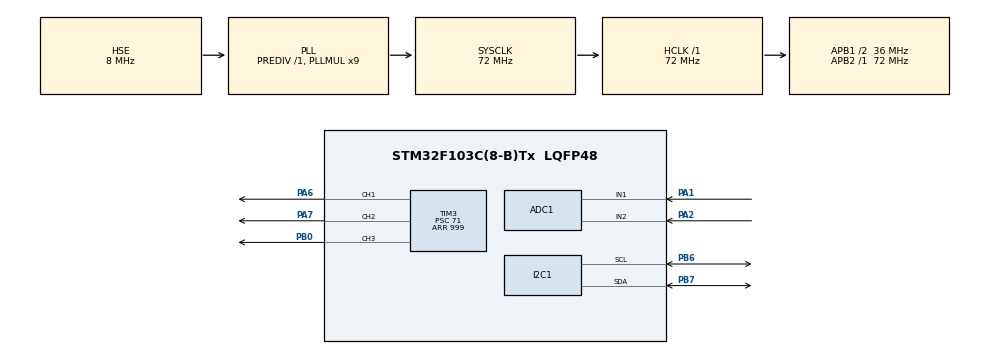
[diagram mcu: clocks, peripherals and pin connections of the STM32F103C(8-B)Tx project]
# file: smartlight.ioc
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ADC1.Channel-0\#ChannelRegularConversion=ADC_CHANNEL_1
ADC1.Channel-1\#ChannelRegularConversion=ADC_CHANNEL_2
ADC1.ContinuousConvMode=ENABLE
ADC1.NbrOfConversion=2
ADC1.NbrOfConversionFlag=1
ADC1.Rank-0\#ChannelRegularConversion=1
ADC1.Rank-1\#ChannelRegularConversion=2
ADC1.SamplingTime-0\#ChannelRegularConversion=ADC_SAMPLETIME_28CYCLES_5
ADC1.SamplingTime-1\#ChannelRegularConversion=ADC_SAMPLETIME_28CYCLES_5
ADC1.master=1
Dma.ADC1.0.Direction=DMA_PERIPH_TO_MEMORY
Dma.ADC1.0.Instance=DMA1_Channel1
Dma.ADC1.0.MemDataAlignment=DMA_MDATAALIGN_HALFWORD
Dma.ADC1.0.MemInc=DMA_MINC_ENABLE
Dma.ADC1.0.Mode=DMA_CIRCULAR
Dma.ADC1.0.PeriphDataAlignment=DMA_PDATAALIGN_HALFWORD
Dma.ADC1.0.PeriphInc=DMA_PINC_DISABLE
Dma.ADC1.0.Priority=DMA_PRIORITY_LOW
Dma.Request0=ADC1
I2C1.I2C_Mode=I2C_Fast
Mcu.Family=STM32F1
Mcu.Name=STM32F103C(8-B)Tx
Mcu.Package=LQFP48
NVIC.DMA1_Channel1_IRQn=true\:0\:0\:false\:false\:true\:false\:true\:true
NVIC.PriorityGroup=NVIC_PRIORITYGROUP_4
PA1.Signal=ADCx_IN1
PA13.Mode=Serial_Wire
PA13.Signal=SYS_JTMS-SWDIO
PA14.Mode=Serial_Wire
PA14.Signal=SYS_JTCK-SWCLK
PA2.Signal=ADCx_IN2
PA6.Signal=S_TIM3_CH1
PA7.Signal=S_TIM3_CH2
PB0.Signal=S_TIM3_CH3
PB6.Mode=I2C
PB6.Signal=I2C1_SCL
PB7.Mode=I2C
PB7.Signal=I2C1_SDA
PD0-OSC_IN.Mode=HSE-External-Oscillator
PD0-OSC_IN.Signal=RCC_OSC_IN
PD1-OSC_OUT.Mode=HSE-External-Oscillator
PD1-OSC_OUT.Signal=RCC_OSC_OUT
ProjectManager.HeapSize=0x200
ProjectManager.StackSize=0x400
ProjectManager.TargetToolchain=STM32CubeIDE
RCC.ADCPresc=RCC_ADCPCLK2_DIV6
RCC.AHBFreq_Value=72000000
RCC.APB1CLKDivider=RCC_HCLK_DIV2
RCC.APB1Freq_Value=36000000
RCC.APB1TimFreq_Value=72000000
RCC.APB2Freq_Value=72000000
RCC.APB2TimFreq_Value=72000000
RCC.HCLKFreq_Value=72000000
RCC.PLLMUL=RCC_PLL_MUL9
RCC.PLLSourceVirtual=RCC_PLLSOURCE_HSE
RCC.SYSCLKFreq_VALUE=72000000
RCC.SYSCLKSource=RCC_SYSCLKSOURCE_PLLCLK
RCC.USBFreq_Value=72000000
SH.ADCx_IN1.0=ADC1_IN1,IN1
SH.ADCx_IN2.0=ADC1_IN2,IN2
SH.S_TIM3_CH1.0=TIM3_CH1,PWM Generation1 CH1
SH.S_TIM3_CH2.0=TIM3_CH2,PWM Generation2 CH2
SH.S_TIM3_CH3.0=TIM3_CH3,PWM Generation3 CH3
TIM3.Channel-PWM\ Generation1\ CH1=TIM_CHANNEL_1
TIM3.Channel-PWM\ Generation2\ CH2=TIM_CHANNEL_2
TIM3.Channel-PWM\ Generation3\ CH3=TIM_CHANNEL_3
TIM3.Period=999
TIM3.Prescaler=71
VP_TIM3_VS_ClockSourceINT.Mode=Internal
board=custom

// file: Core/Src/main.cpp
/* USER CODE BEGIN Header */
/**
 ******************************************************************************
 * @file           : main.c
 * @brief          : Main program body
 ******************************************************************************
 * @attention
 *
 * Copyright (c) 2025 STMicroelectronics.
 * All rights reserved.
 *
 * This software is licensed under terms that can be found in the LICENSE file
 * in the root directory of this software component.
 * If no LICENSE file comes with this software, it is provided AS-IS.
 *
 ******************************************************************************
 */
/* USER CODE END Header */
#include "main.h"

/* USER CODE BEGIN Includes */
#include <stdio.h>
#include <string.h>
#include "Fuzzy.h"
#include "fonts.h"
#include "ssd1306.h"
/* USER CODE END Includes */

ADC_HandleTypeDef hadc1;
DMA_HandleTypeDef hdma_adc1;

I2C_HandleTypeDef hi2c1;

TIM_HandleTypeDef htim3;

/* USER CODE BEGIN PV */
uint16_t light[2];
char tx_buffer[20];

Fuzzy *fuzzy = new Fuzzy();

// define membership
// inside room
FuzzySet *in_veryDark = new FuzzySet(0, 0, 10, 20);
FuzzySet *in_dark     = new FuzzySet(10, 20, 30, 40);
FuzzySet *in_moderate = new FuzzySet(30, 40, 50, 60);
FuzzySet *in_bright   = new FuzzySet(50, 60, 70, 80);
FuzzySet *in_veryBright = new FuzzySet(70, 80, 90, 100);

// outside
FuzzySet *out_veryDark = new FuzzySet(0, 0, 10, 20);
FuzzySet *out_dark     = new FuzzySet(10, 20, 30, 40);
FuzzySet *out_moderate = new FuzzySet(30, 40, 50, 60);
FuzzySet *out_bright   = new FuzzySet(50, 60, 70, 80);
FuzzySet *out_veryBright = new FuzzySet(70, 80, 90, 100);

// brightness
FuzzySet *veryLow	= new FuzzySet(0, 0, 10, 20);
FuzzySet *low		= new FuzzySet(10, 20, 30, 40);
FuzzySet *medium	= new FuzzySet(30, 40, 50, 60);
FuzzySet *high		= new FuzzySet(50, 60, 70, 80);
FuzzySet *veryHigh	= new FuzzySet(70, 80, 100, 100);

/* USER CODE END PV */

void SystemClock_Config(void);
static void MX_GPIO_Init(void);
static void MX_DMA_Init(void);
static void MX_ADC1_Init(void);
static void MX_TIM3_Init(void);
static void MX_I2C1_Init(void);

/* USER CODE BEGIN 0 */
void setupFuzzy();
void configureFuzzyRule();
void addRule(int ruleNumber, FuzzySet *fuzzySet1, FuzzySet *fuzzySet2,
		FuzzyRuleConsequent *Consequent);
float scaleLightValue(uint16_t light, uint16_t fromLow, uint16_t fromHigh,
		uint16_t toLow, uint16_t toHigh);
/* USER CODE END 0 */

int main(void) {

	/* MCU Configuration--------------------------------------------------------*/

	/* Reset of all peripherals, Initializes the Flash interface and the Systick. */
	HAL_Init();

	/* Configure the system clock */
	SystemClock_Config();

	/* Initialize all configured peripherals */
	MX_GPIO_Init();
	MX_DMA_Init();
	MX_ADC1_Init();
	MX_TIM3_Init();
	MX_I2C1_Init();
	/* USER CODE BEGIN 2 */
	HAL_TIM_PWM_Start(&htim3, TIM_CHANNEL_1);
	HAL_TIM_PWM_Start(&htim3, TIM_CHANNEL_2);
	HAL_TIM_PWM_Start(&htim3, TIM_CHANNEL_3);

	SSD1306_Init(); // initialise the display

	if (HAL_ADC_Start_DMA(&hadc1, (uint32_t*) light, 2) != HAL_OK) {
		strcpy(tx_buffer, "ADC failed!\n\r");
		SSD1306_GotoXY(10, 10); // goto 10, 10
		SSD1306_Puts(tx_buffer, &Font_7x10, SSD1306_COLOR_WHITE); // print Hello
		SSD1306_UpdateScreen(); // update screen
	}

	setupFuzzy();
	configureFuzzyRule();
	/* USER CODE END 2 */

	/* Infinite loop */
	while (1) {

		/* USER CODE BEGIN 3 */
		float scaledP1 = scaleLightValue(light[0], 0, 4095, 0, 100);
		float scaledP2 = scaleLightValue(light[1], 0, 4095, 0, 100);

		float illuminationP1 = 100 - scaledP1;
		float illuminationP2 = 100 - scaledP2;

		fuzzy->setInput(1, illuminationP1);
		fuzzy->setInput(2, illuminationP2);

		// mờ hóa
		fuzzy->fuzzify();

		// giải mờ
		float brightnessLED = fuzzy->defuzzify(1);

		if (brightnessLED < 33.33) {
			__HAL_TIM_SET_COMPARE(&htim3, TIM_CHANNEL_1, brightnessLED);
			__HAL_TIM_SET_COMPARE(&htim3, TIM_CHANNEL_2, 0);
			__HAL_TIM_SET_COMPARE(&htim3, TIM_CHANNEL_3, 0);
		} else if (brightnessLED < 66.67) {
			__HAL_TIM_SET_COMPARE(&htim3, TIM_CHANNEL_1, brightnessLED);
			__HAL_TIM_SET_COMPARE(&htim3, TIM_CHANNEL_2, brightnessLED);
			__HAL_TIM_SET_COMPARE(&htim3, TIM_CHANNEL_3, 0);
		} else {
			__HAL_TIM_SET_COMPARE(&htim3, TIM_CHANNEL_1, brightnessLED);
			__HAL_TIM_SET_COMPARE(&htim3, TIM_CHANNEL_2, brightnessLED);
			__HAL_TIM_SET_COMPARE(&htim3, TIM_CHANNEL_3, brightnessLED);
		}

		SSD1306_Clear();
		SSD1306_GotoXY(1, 0);
		sprintf(tx_buffer, "light 1: %.2f", illuminationP1);
		SSD1306_Puts(tx_buffer, &Font_7x10, SSD1306_COLOR_WHITE);

		SSD1306_GotoXY(1, 12);
		sprintf(tx_buffer, "light 2: %.2f", illuminationP2);
		SSD1306_Puts(tx_buffer, &Font_7x10, SSD1306_COLOR_WHITE);

		SSD1306_GotoXY(1, 22);
		sprintf(tx_buffer, "bright: %.2f%%", brightnessLED);
		SSD1306_Puts(tx_buffer, &Font_7x10, SSD1306_COLOR_WHITE);

		SSD1306_UpdateScreen();

		HAL_Delay(500);
	}
	/* USER CODE END 3 */
}

void SystemClock_Config(void) {
	RCC_OscInitTypeDef RCC_OscInitStruct = { 0 };
	RCC_ClkInitTypeDef RCC_ClkInitStruct = { 0 };
	RCC_PeriphCLKInitTypeDef PeriphClkInit = { 0 };

	/** Initializes the RCC Oscillators according to the specified parameters
	 * in the RCC_OscInitTypeDef structure.
	 */
	RCC_OscInitStruct.OscillatorType = RCC_OSCILLATORTYPE_HSE;
	RCC_OscInitStruct.HSEState = RCC_HSE_ON;
	RCC_OscInitStruct.HSEPredivValue = RCC_HSE_PREDIV_DIV1;
	RCC_OscInitStruct.HSIState = RCC_HSI_ON;
	RCC_OscInitStruct.PLL.PLLState = RCC_PLL_ON;
	RCC_OscInitStruct.PLL.PLLSource = RCC_PLLSOURCE_HSE;
	RCC_OscInitStruct.PLL.PLLMUL = RCC_PLL_MUL9;
	if (HAL_RCC_OscConfig(&RCC_OscInitStruct) != HAL_OK) {
		Error_Handler();
	}

	/** Initializes the CPU, AHB and APB buses clocks
	 */
	RCC_ClkInitStruct.ClockType = RCC_CLOCKTYPE_HCLK | RCC_CLOCKTYPE_SYSCLK
			| RCC_CLOCKTYPE_PCLK1 | RCC_CLOCKTYPE_PCLK2;
	RCC_ClkInitStruct.SYSCLKSource = RCC_SYSCLKSOURCE_PLLCLK;
	RCC_ClkInitStruct.AHBCLKDivider = RCC_SYSCLK_DIV1;
	RCC_ClkInitStruct.APB1CLKDivider = RCC_HCLK_DIV2;
	RCC_ClkInitStruct.APB2CLKDivider = RCC_HCLK_DIV1;

	if (HAL_RCC_ClockConfig(&RCC_ClkInitStruct, FLASH_LATENCY_2) != HAL_OK) {
		Error_Handler();
	}
	PeriphClkInit.PeriphClockSelection = RCC_PERIPHCLK_ADC;
	PeriphClkInit.AdcClockSelection = RCC_ADCPCLK2_DIV6;
	if (HAL_RCCEx_PeriphCLKConfig(&PeriphClkInit) != HAL_OK) {
		Error_Handler();
	}
}

static void MX_ADC1_Init(void) {

	ADC_ChannelConfTypeDef sConfig = { 0 };

	/** Common config
	 */
	hadc1.Instance = ADC1;
	hadc1.Init.ScanConvMode = ADC_SCAN_ENABLE;
	hadc1.Init.ContinuousConvMode = ENABLE;
	hadc1.Init.DiscontinuousConvMode = DISABLE;
	hadc1.Init.ExternalTrigConv = ADC_SOFTWARE_START;
	hadc1.Init.DataAlign = ADC_DATAALIGN_RIGHT;
	hadc1.Init.NbrOfConversion = 2;
	if (HAL_ADC_Init(&hadc1) != HAL_OK) {
		Error_Handler();
	}

	/** Configure Regular Channel
	 */
	sConfig.Channel = ADC_CHANNEL_1;
	sConfig.Rank = ADC_REGULAR_RANK_1;
	sConfig.SamplingTime = ADC_SAMPLETIME_28CYCLES_5;
	if (HAL_ADC_ConfigChannel(&hadc1, &sConfig) != HAL_OK) {
		Error_Handler();
	}

	/** Configure Regular Channel
	 */
	sConfig.Channel = ADC_CHANNEL_2;
	sConfig.Rank = ADC_REGULAR_RANK_2;
	if (HAL_ADC_ConfigChannel(&hadc1, &sConfig) != HAL_OK) {
		Error_Handler();
	}

}

static void MX_I2C1_Init(void) {

	hi2c1.Instance = I2C1;
	hi2c1.Init.ClockSpeed = 400000;
	hi2c1.Init.DutyCycle = I2C_DUTYCYCLE_2;
	hi2c1.Init.OwnAddress1 = 0;
	hi2c1.Init.AddressingMode = I2C_ADDRESSINGMODE_7BIT;
	hi2c1.Init.DualAddressMode = I2C_DUALADDRESS_DISABLE;
	hi2c1.Init.OwnAddress2 = 0;
	hi2c1.Init.GeneralCallMode = I2C_GENERALCALL_DISABLE;
	hi2c1.Init.NoStretchMode = I2C_NOSTRETCH_DISABLE;
	if (HAL_I2C_Init(&hi2c1) != HAL_OK) {
		Error_Handler();
	}

}

static void MX_TIM3_Init(void) {

	TIM_ClockConfigTypeDef sClockSourceConfig = { 0 };
	TIM_MasterConfigTypeDef sMasterConfig = { 0 };
	TIM_OC_InitTypeDef sConfigOC = { 0 };

	htim3.Instance = TIM3;
	htim3.Init.Prescaler = 71;
	htim3.Init.CounterMode = TIM_COUNTERMODE_UP;
	htim3.Init.Period = 999;
	htim3.Init.ClockDivision = TIM_CLOCKDIVISION_DIV1;
	htim3.Init.AutoReloadPreload = TIM_AUTORELOAD_PRELOAD_DISABLE;
	if (HAL_TIM_Base_Init(&htim3) != HAL_OK) {
		Error_Handler();
	}
	sClockSourceConfig.ClockSource = TIM_CLOCKSOURCE_INTERNAL;
	if (HAL_TIM_ConfigClockSource(&htim3, &sClockSourceConfig) != HAL_OK) {
		Error_Handler();
	}
	if (HAL_TIM_PWM_Init(&htim3) != HAL_OK) {
		Error_Handler();
	}
	sMasterConfig.MasterOutputTrigger = TIM_TRGO_RESET;
	sMasterConfig.MasterSlaveMode = TIM_MASTERSLAVEMODE_DISABLE;
	if (HAL_TIMEx_MasterConfigSynchronization(&htim3, &sMasterConfig)
			!= HAL_OK) {
		Error_Handler();
	}
	sConfigOC.OCMode = TIM_OCMODE_PWM1;
	sConfigOC.Pulse = 0;
	sConfigOC.OCPolarity = TIM_OCPOLARITY_HIGH;
	sConfigOC.OCFastMode = TIM_OCFAST_DISABLE;
	if (HAL_TIM_PWM_ConfigChannel(&htim3, &sConfigOC, TIM_CHANNEL_1)
			!= HAL_OK) {
		Error_Handler();
	}
	if (HAL_TIM_PWM_ConfigChannel(&htim3, &sConfigOC, TIM_CHANNEL_2)
			!= HAL_OK) {
		Error_Handler();
	}
	if (HAL_TIM_PWM_ConfigChannel(&htim3, &sConfigOC, TIM_CHANNEL_3)
			!= HAL_OK) {
		Error_Handler();
	}
	HAL_TIM_MspPostInit(&htim3);

}

static void MX_DMA_Init(void) {

	/* DMA controller clock enable */
	__HAL_RCC_DMA1_CLK_ENABLE();

	/* DMA interrupt init */
	/* DMA1_Channel1_IRQn interrupt configuration */
	HAL_NVIC_SetPriority(DMA1_Channel1_IRQn, 0, 0);
	HAL_NVIC_EnableIRQ(DMA1_Channel1_IRQn);

}

static void MX_GPIO_Init(void) {

	/* GPIO Ports Clock Enable */
	__HAL_RCC_GPIOD_CLK_ENABLE();
	__HAL_RCC_GPIOA_CLK_ENABLE();
	__HAL_RCC_GPIOB_CLK_ENABLE();

}

/* USER CODE BEGIN 4 */
void setupFuzzy() {
	FuzzyInput *inside = new FuzzyInput(1);
	inside->addFuzzySet(in_veryDark);
	inside->addFuzzySet(in_dark);
	inside->addFuzzySet(in_moderate);
	inside->addFuzzySet(in_bright);
	inside->addFuzzySet(in_veryBright);
	fuzzy->addFuzzyInput(inside);

	FuzzyInput *outside = new FuzzyInput(2);
	outside->addFuzzySet(out_veryDark);
	outside->addFuzzySet(out_dark);
	outside->addFuzzySet(out_moderate);
	outside->addFuzzySet(out_bright);
	outside->addFuzzySet(out_veryBright);
	fuzzy->addFuzzyInput(outside);

	FuzzyOutput *brightness = new FuzzyOutput(1);
	brightness->addFuzzySet(low);
	brightness->addFuzzySet(veryLow);
	brightness->addFuzzySet(medium);
	brightness->addFuzzySet(high);
	brightness->addFuzzySet(veryHigh);
	fuzzy->addFuzzyOutput(brightness);
}

void configureFuzzyRule() {
	// Định nghĩa các kết quả
	FuzzyRuleConsequent *thenVeryLow = new FuzzyRuleConsequent();
	FuzzyRuleConsequent *thenLow = new FuzzyRuleConsequent();
	FuzzyRuleConsequent *thenMedium = new FuzzyRuleConsequent();
	FuzzyRuleConsequent *thenHigh = new FuzzyRuleConsequent();
	FuzzyRuleConsequent *thenVeryHigh = new FuzzyRuleConsequent();

	// Cấu hình các kết quả
	thenVeryLow->addOutput(veryLow);
	thenLow->addOutput(low);
	thenMedium->addOutput(medium);
	thenHigh->addOutput(high);
	thenVeryHigh->addOutput(veryHigh);

	// Định nghĩa rule
	// Rule 1: If (outside bright) then Low
	addRule(1, out_bright, nullptr, thenLow);
	// Rule 2: If (outside very bright) then Low Power
	addRule(2, out_veryBright, nullptr, thenVeryLow);
	// Rule 3: If (outside moderate and inside very dark) then low Power
	addRule(3, out_moderate, in_veryDark, thenVeryHigh);

	addRule(4, out_moderate, in_dark, thenMedium);

	addRule(5, out_moderate, in_moderate, thenMedium);

	addRule(6, out_moderate, in_bright, thenVeryLow);

	addRule(7, out_moderate, in_veryBright, thenVeryLow);

	addRule(8, out_dark, in_veryDark, thenVeryHigh);

	addRule(9, out_dark, in_dark, thenMedium);

	addRule(10, out_dark, in_moderate, thenMedium);

	addRule(11, out_dark, in_bright, thenMedium);

	addRule(12, out_dark, in_veryBright, thenLow);

	addRule(13, out_veryDark, in_veryDark, thenVeryHigh);

	addRule(14, out_veryDark, in_dark, thenHigh);

	addRule(15, out_veryDark, in_moderate, thenHigh);

	addRule(16, out_veryDark, in_bright, thenMedium);

	addRule(17, out_veryDark, in_veryBright, thenMedium);
}

void addRule(int ruleNumber, FuzzySet *fuzzySet1, FuzzySet *fuzzySet2,
		FuzzyRuleConsequent *Consequent) {
	FuzzyRuleAntecedent *antecedent = new FuzzyRuleAntecedent();
	if (fuzzySet2 == nullptr) {
		antecedent->joinSingle(fuzzySet1);
		fuzzy->addFuzzyRule(new FuzzyRule(ruleNumber, antecedent, Consequent));
	} else {
		antecedent->joinWithAND(fuzzySet1, fuzzySet2);
		fuzzy->addFuzzyRule(new FuzzyRule(ruleNumber, antecedent, Consequent));
	}
}

float scaleLightValue(uint16_t light, uint16_t fromLow, uint16_t fromHigh,
		uint16_t toLow, uint16_t toHigh) {
	return ((light * 1.0 - fromLow) * (toHigh - toLow)) / (fromHigh - fromLow);
}
/* USER CODE END 4 */

void Error_Handler(void) {
	__disable_irq();
	while (1) {
	}
}
